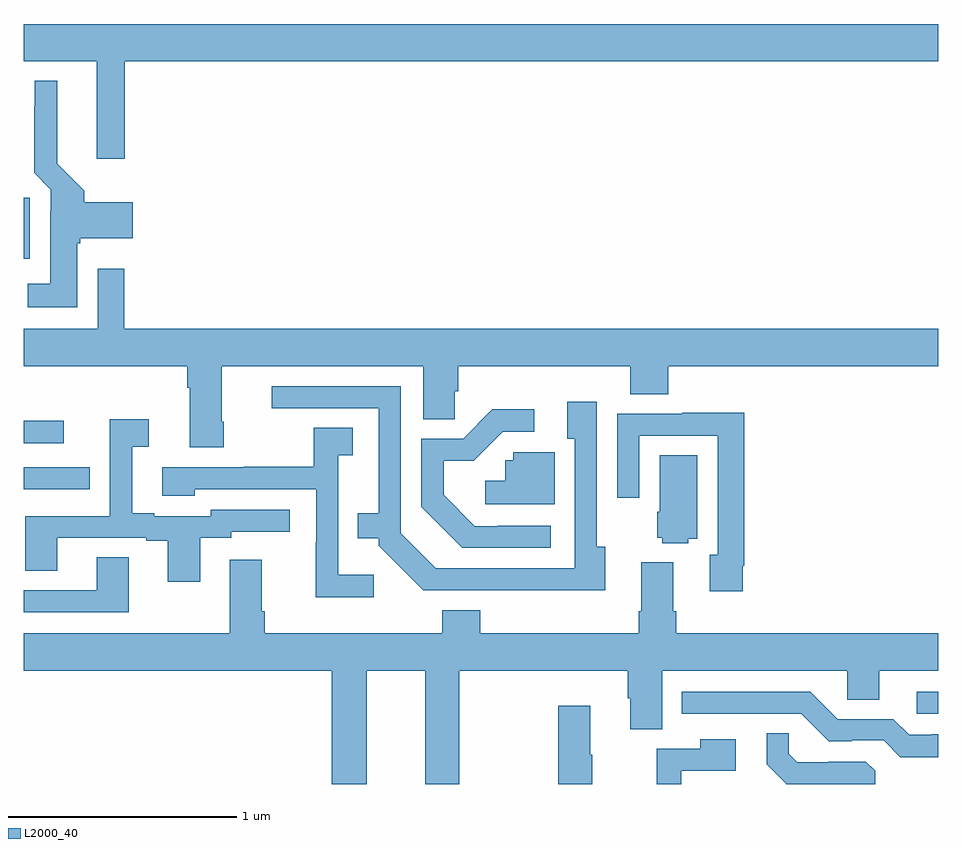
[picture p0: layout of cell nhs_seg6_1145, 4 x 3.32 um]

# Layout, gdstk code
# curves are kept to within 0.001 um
import gdstk
lib = gdstk.Library(unit=1e-6, precision=1e-09)
def R(c, l, rs):  # rectangles x0, y0, x1, y1
    for r in rs: c.add(gdstk.rectangle(r[:2], r[2:], *l))
def P(c, l, *ps):  # polygons
    for p in ps: c.add(gdstk.Polygon(p, *l))
L2000_40 = (2000, 40)

nhs_seg6_1145 = lib.new_cell('nhs_seg6_1145')
R(nhs_seg6_1145, L2000_40, [(184.905,953.808,185,953.904), (181,954.99,181.174,955.089), (181,955.797,181.027,956.065)])
P(nhs_seg6_1145, L2000_40, [(181.442,956.66),(185,956.66),(185,956.824),(181,956.824),(181,956.66),(181.319,956.66),(181.319,956.235),(181.442,956.235)],
  [(181.234,955.866),(181.248,955.866),(181.248,955.886),(181.477,955.886),(181.477,956.044),(181.265,956.044),(181.265,956.094),(181.147,956.212),(181.147,956.575),(181.049,956.575),(181.049,956.465),(181.045,956.465),(181.045,956.174),(181.119,956.1),(181.119,956.006),(181.115,956.006),(181.115,955.687),(181.017,955.687),(181.017,955.586),(181.234,955.586)],
  [(181.875,955.084),(181.867,955.084),(181.867,955.328),(182.747,955.328),(182.747,955.096),(182.885,955.096),(182.885,955.218),(182.9,955.218),(182.9,955.328),(183.653,955.328),(183.653,955.204),(183.818,955.204),(183.818,955.328),(185,955.328),(185,955.492),(181.439,955.492),(181.439,955.753),(181.323,955.753),(181.323,955.492),(181,955.492),(181,955.328),(181.715,955.328),(181.715,955.232),(181.727,955.232),(181.727,954.972),(181.875,954.972)],
  [(183.544,954.538),(183.507,954.538),(183.507,955.171),(183.377,955.171),(183.377,955.01),(183.411,955.01),(183.411,954.444),(182.802,954.444),(182.649,954.597),(182.649,955.239),(182.085,955.239),(182.085,955.143),(182.552,955.143),(182.552,954.685),(182.461,954.685),(182.461,954.575),(182.553,954.575),(182.553,954.543),(182.748,954.348),(183.544,954.347)],
  [(183.304,954.63),(183.073,954.63),(183.073,954.627),(182.973,954.627),(182.836,954.764),(182.836,954.914),(182.969,954.914),(183.096,955.041),(183.232,955.041),(183.232,955.139),(183.05,955.139),(182.922,955.011),(182.739,955.011),(182.739,954.713),(182.918,954.534),(183.304,954.534)],
  [(184.144,954.454),(184.151,954.454),(184.151,955.123),(183.881,955.123),(183.881,955.119),(183.597,955.119),(183.597,954.753),(183.693,954.753),(183.693,955.023),(184.035,955.023),(184.035,954.503),(184.001,954.503),(184.001,954.342),(184.144,954.342)],
  [(181.771,954.576),(181.908,954.576),(181.908,954.603),(182.164,954.603),(182.164,954.699),(181.818,954.699),(181.818,954.672),(181.57,954.672),(181.57,954.685),(181.474,954.685),(181.474,954.976),(181.546,954.976),(181.546,955.096),(181.377,955.096),(181.377,954.672),(181.007,954.672),(181.007,954.433),(181.147,954.433),(181.147,954.576),(181.535,954.576),(181.535,954.564),(181.631,954.564),(181.631,954.384),(181.771,954.384)],
  [(182.53,954.415),(182.376,954.415),(182.376,954.937),(182.44,954.937),(182.44,955.058),(182.268,955.058),(182.268,954.888),(181.963,954.888),(181.963,954.885),(181.605,954.885),(181.605,954.761),(181.749,954.761),(181.749,954.789),(182.28,954.789),(182.28,954.557),(182.278,954.557),(182.278,954.317),(182.53,954.317)],
  [(183.322,954.951),(183.141,954.951),(183.141,954.915),(183.105,954.915),(183.105,954.826),(183.018,954.826),(183.018,954.723),(183.322,954.723)],
  [(183.906,954.572),(183.946,954.572),(183.946,954.938),(183.782,954.938),(183.782,954.69),(183.77,954.69),(183.77,954.576),(183.792,954.576),(183.792,954.554),(183.906,954.554)],
  [(181.175,954.79),(181.288,954.79),(181.288,954.885),(181,954.885),(181,954.789),(181.175,954.789)],
  [(181.459,954.491),(181.319,954.491),(181.319,954.348),(181,954.348),(181,954.252),(181.459,954.252)],
  [(183.793,953.996),(184.602,953.996),(184.602,953.869),(184.741,953.869),(184.741,953.996),(185,953.996),(185,954.16),(183.854,954.16),(183.854,954.256),(183.841,954.256),(183.841,954.469),(183.701,954.469),(183.701,954.256),(183.689,954.256),(183.689,954.16),(182.996,954.16),(182.996,954.259),(182.831,954.259),(182.831,954.16),(182.054,954.16),(182.054,954.256),(182.041,954.256),(182.041,954.481),(181.901,954.481),(181.901,954.16),(181,954.16),(181,953.996),(182.348,953.996),(182.348,953.5),(182.5,953.5),(182.5,953.996),(182.756,953.996),(182.756,953.5),(182.904,953.5),(182.904,953.996),(183.641,953.996),(183.641,953.874),(183.653,953.874),(183.653,953.74),(183.793,953.74)],
  [(185,953.718),(184.972,953.718),(184.972,953.715),(184.872,953.715),(184.803,953.784),(184.56,953.784),(184.44,953.904),(183.878,953.904),(183.878,953.808),(184.401,953.808),(184.521,953.688),(184.622,953.688),(184.622,953.691),(184.761,953.691),(184.834,953.618),(185,953.618)],
  [(183.486,953.629),(183.478,953.629),(183.478,953.842),(183.337,953.842),(183.337,953.5),(183.486,953.5)],
  [(184.724,953.557),(184.683,953.598),(184.518,953.598),(184.518,953.595),(184.384,953.595),(184.347,953.632),(184.347,953.723),(184.249,953.723),(184.249,953.587),(184.335,953.501),(184.335,953.5),(184.724,953.5)],
  [(183.876,953.559),(184.114,953.559),(184.114,953.695),(183.958,953.695),(183.958,953.655),(183.768,953.655),(183.768,953.5),(183.876,953.5)])

lib.write_gds('nhs_seg6_1145.gds')
